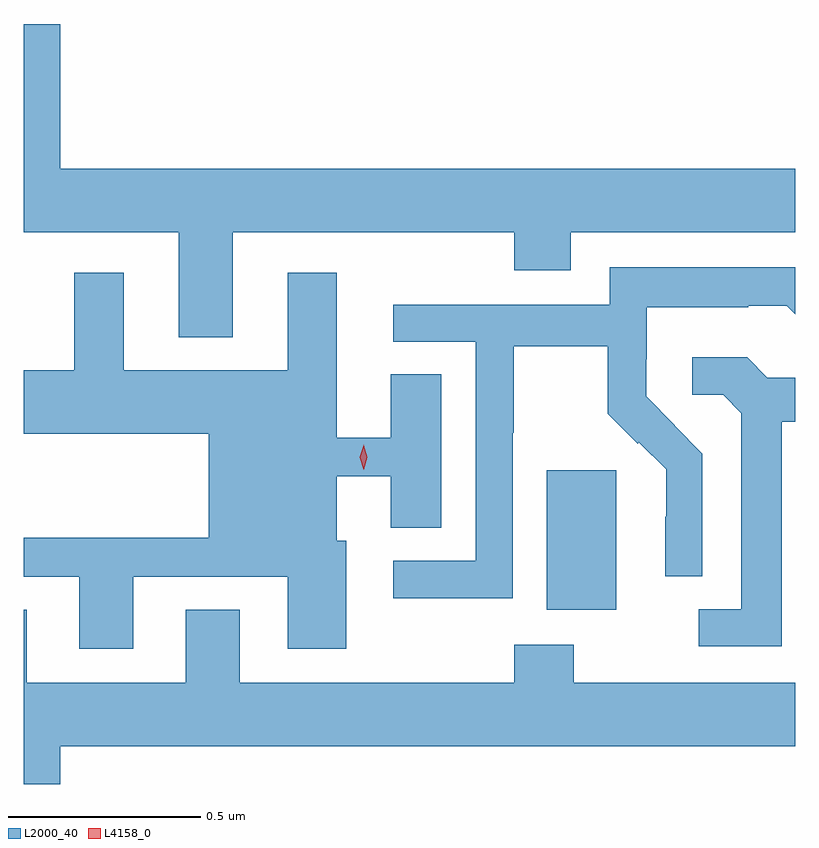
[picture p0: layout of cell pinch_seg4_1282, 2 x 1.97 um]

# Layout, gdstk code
import gdstk
lib = gdstk.Library(unit=1e-6, precision=1e-09)
def R(c, l, rs):  # rectangles x0, y0, x1, y1
    for r in rs: c.add(gdstk.rectangle(r[:2], r[2:], *l))
def P(c, l, *ps):  # polygons
    for p in ps: c.add(gdstk.Polygon(p, *l))
L2000_40 = (2000, 40)
L4158_0 = (4158, 0)

pinch_seg4_1282 = lib.new_cell('pinch_seg4_1282')
R(pinch_seg4_1282, L2000_40, [(238.361,753.218,238.54,753.579)])
P(pinch_seg4_1282, L2000_40, [(237.547,754.196),(238.276,754.196),(238.276,754.097),(238.423,754.097),(238.423,754.196),(239.005,754.196),(239.005,754.36),(237.1,754.36),(237.1,754.735),(237.005,754.735),(237.005,754.196),(237.407,754.196),(237.407,753.923),(237.547,753.923)],
  [(238.176,753.912),(238.176,753.345),(237.963,753.345),(237.963,753.247),(238.272,753.247),(238.272,753.676),(238.275,753.676),(238.275,753.9),(238.519,753.9),(238.519,753.725),(238.596,753.648),(238.599,753.651),(238.67,753.581),(238.67,753.458),(238.668,753.458),(238.668,753.304),(238.764,753.304),(238.764,753.622),(238.691,753.695),(238.692,753.696),(238.618,753.77),(238.618,753.867),(238.62,753.867),(238.62,754.001),(238.883,754.001),(238.883,754.005),(238.983,754.005),(239.005,753.983),(239.005,754.105),(238.524,754.105),(238.524,754.008),(237.963,754.008),(237.963,753.912)],
  [(237.289,753.303),(237.689,753.303),(237.689,753.117),(237.841,753.117),(237.841,753.396),(237.817,753.396),(237.817,753.563),(237.956,753.563),(237.956,753.43),(238.087,753.43),(238.087,753.827),(237.956,753.827),(237.956,753.663),(237.817,753.663),(237.817,754.09),(237.689,754.09),(237.689,753.838),(237.265,753.838),(237.265,754.09),(237.137,754.09),(237.137,753.838),(237.005,753.838),(237.005,753.674),(237.485,753.674),(237.485,753.404),(237.005,753.404),(237.005,753.303),(237.149,753.303),(237.149,753.117),(237.289,753.117)],
  [(238.969,753.704),(239.005,753.704),(239.005,753.819),(238.932,753.819),(238.88,753.871),(238.737,753.871),(238.737,753.774),(238.818,753.774),(238.865,753.727),(238.865,753.219),(238.755,753.219),(238.755,753.123),(238.969,753.123)],
  [(237.1,752.864),(239.005,752.864),(239.005,753.028),(238.431,753.028),(238.431,753.127),(238.276,753.127),(238.276,753.028),(237.565,753.028),(237.565,753.218),(237.425,753.218),(237.425,753.028),(237.013,753.028),(237.013,753.218),(237.005,753.218),(237.005,752.766),(237.1,752.766)])
P(pinch_seg4_1282, L4158_0, [(237.886,753.58),(237.886,753.58),(237.876,753.612),(237.886,753.644),(237.886,753.645),(237.887,753.644),(237.896,753.612),(237.887,753.58)])

lib.write_gds('pinch_seg4_1282.gds')
